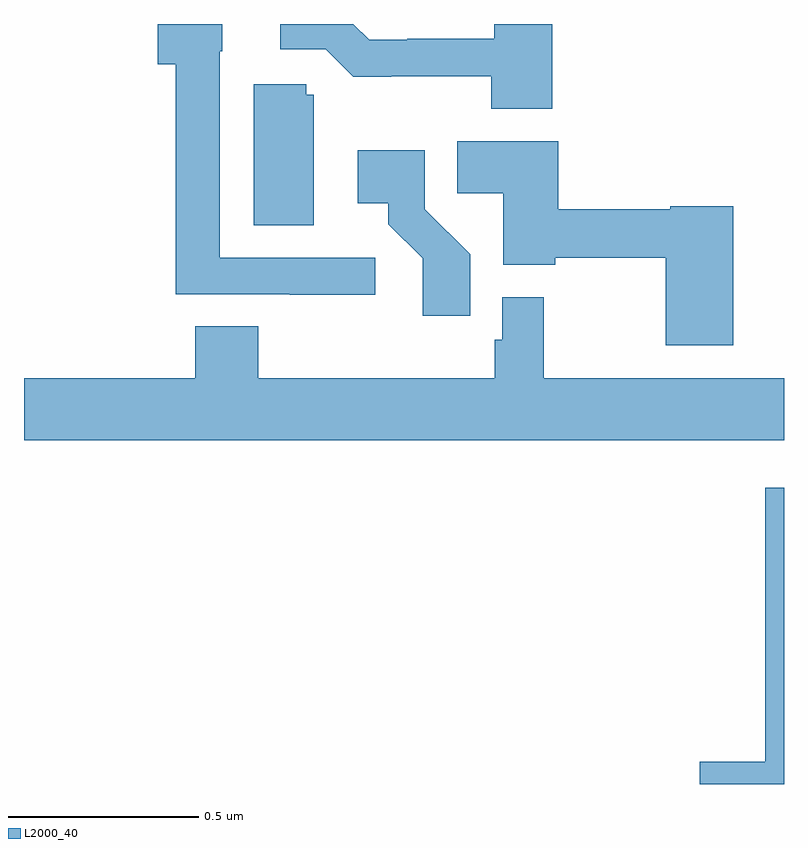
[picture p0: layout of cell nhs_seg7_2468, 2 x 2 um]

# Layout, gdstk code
import gdstk
lib = gdstk.Library(unit=1e-6, precision=1e-09)
def P(c, l, *ps):  # polygons
    for p in ps: c.add(gdstk.Polygon(p, *l))
L2000_40 = (2000, 40)

nhs_seg7_2468 = lib.new_cell('nhs_seg7_2468')
P(nhs_seg7_2468, L2000_40, [(145.924,1046.385),(145.515,1046.385),(145.515,1046.928),(145.522,1046.928),(145.522,1047),(145.352,1047),(145.352,1046.894),(145.399,1046.894),(145.399,1046.289),(145.699,1046.289),(145.699,1046.287),(145.924,1046.287)],
  [(146.39,1047),(146.237,1047),(146.237,1046.961),(146.008,1046.961),(146.008,1046.958),(145.908,1046.958),(145.866,1047),(145.674,1047),(145.674,1046.934),(145.794,1046.934),(145.867,1046.861),(145.966,1046.861),(145.966,1046.862),(146.23,1046.862),(146.23,1046.777),(146.39,1046.777)],
  [(145.762,1046.814),(145.743,1046.814),(145.743,1046.841),(145.604,1046.841),(145.604,1046.47),(145.762,1046.47)],
  [(146.867,1046.521),(146.7,1046.521),(146.7,1046.513),(146.406,1046.513),(146.406,1046.692),(146.14,1046.692),(146.14,1046.554),(146.261,1046.554),(146.261,1046.366),(146.398,1046.366),(146.398,1046.385),(146.689,1046.385),(146.689,1046.154),(146.867,1046.154)],
  [(146.174,1046.394),(146.055,1046.513),(146.055,1046.668),(145.878,1046.668),(145.878,1046.528),(145.958,1046.528),(145.958,1046.473),(146.049,1046.383),(146.049,1046.232),(146.174,1046.232)],
  [(147,1046.068),(146.368,1046.068),(146.368,1046.281),(146.259,1046.281),(146.259,1046.169),(146.239,1046.169),(146.239,1046.068),(145.616,1046.068),(145.616,1046.204),(145.451,1046.204),(145.451,1046.068),(145,1046.068),(145,1045.904),(147,1045.904)],
  [(147,1045.78),(146.95,1045.78),(146.95,1045.058),(146.778,1045.058),(146.778,1045),(147,1045)])

lib.write_gds('nhs_seg7_2468.gds')
